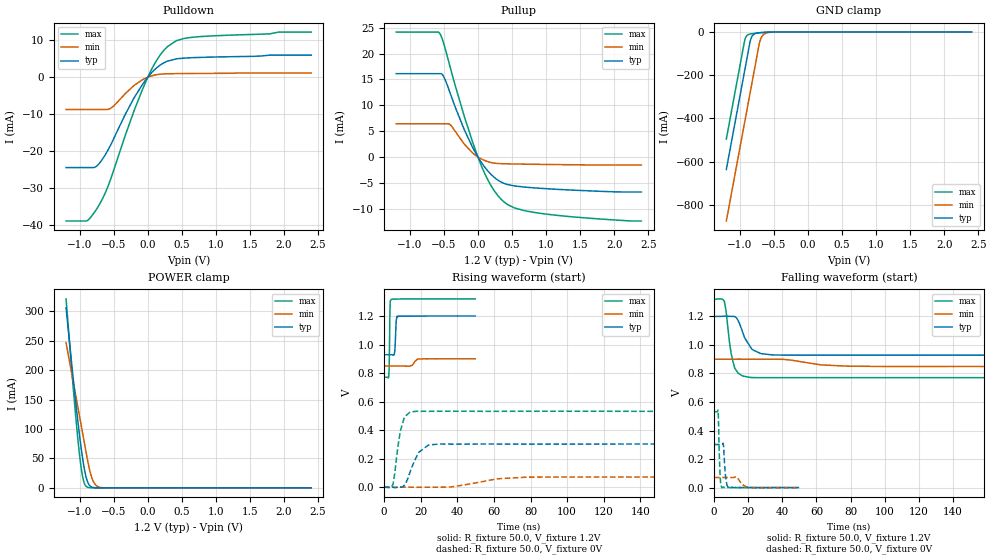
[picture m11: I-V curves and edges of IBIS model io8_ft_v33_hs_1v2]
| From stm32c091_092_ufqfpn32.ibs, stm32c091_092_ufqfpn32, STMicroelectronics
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[Model]   io8_ft_v33_hs_1v2
Model_type I/O
Polarity   Non-Inverting
Enable   Active-Low
| CAP_THRESHOLD on pad IOFT is "UDTCAPC" :
| Rising=30.0% of vddiom   Falling=70.0% of vddiom
| C_comp min and max val. don't necessarily correlate with the min and max pvt
| but are the smallest and greatest pad capacitance found.
| var   typ   min   max
C_comp   1.63441pF  1.57090pF  1.66383pF
|C_comp_pullup   957.35000fF  903.55000fF  945.39000fF
|C_comp_pulldown   677.06002fF  667.35002fF  718.43501fF
Vinl = 450.0mV
Vinh = 660.0mV
Vmeas = 600.0mV   | Reference voltage for timing measurements
Cref  = 50.0pF   | Timing specification test load capacitance value
Rref  = 1.0MOhm   | Timing specification test load resistance value
Vref  = 660.0mV   | Timing specification test load voltage
[Model Spec]
| TIME_THRESHOLD on pin ZIV33M is "CMOS" :
| Rising=50.0% of vddiom   Falling=50.0% of vddiom
Vinl 458.70000mV 361.70000mV 499.70000mV
Vinh 728.30000mV 549.30000mV 792.30000mV
| variable   typ   min   max
[Temperature Range] 25.0 125.0 -40.0
| variable   typ   min   max
[Voltage Range] 1.2V 900.0mV 1.32V
| variable   typ   min   max
[POWER Clamp Reference] 1.2V 900.0mV 1.32V
| variable   typ   min   max
[GND Clamp Reference] 0V 0V 0V
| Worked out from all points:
|   slope of the pulldown table from 0 to 0.18 V, typ, clamps not added: 55.6 ohm
|   slope of the pullup table from 0 to 0.18 V, typ, clamps not added: 56.3 ohm
|   GND clamp passes 1 mA (typ) near -0.61 V on its own axis
|   POWER clamp passes 1 mA (typ) near -0.81 V on its own axis
|   rising waveform, R_fixture 50.0, V_fixture 1.2V: 20-80 % time 546ps typ, 1.88ns min, 335ps max; typ from 0.928 V to 1.2 V
|   falling waveform, R_fixture 50.0, V_fixture 1.2V: 20-80 % time 6.41ns typ, 17.2ns min, 3.88ns max; typ from 1.2 V to 0.928 V
|   rising waveform, R_fixture 50.0, V_fixture 0V: 20-80 % time 5.9ns typ, 17.9ns min, 3.67ns max; typ from 0 V to 0.302 V
|   falling waveform, R_fixture 50.0, V_fixture 0V: 20-80 % time 1.14ns typ, 3.03ns min, 775ps max; typ from 0.302 V to 0 V
[POWER Clamp]
-1.2V     306.2mA    246.9mA    321.2mA
-1.09V    180mA      177.2mA    163.4mA
-1.05V    136.9mA    151.8mA    110.9mA
-1.01V    96.55mA    126.4mA    64.02mA
-960mV    52.29mA    94.73mA    20.68mA
-930mV    31.08mA    75.71mA    7.282mA
-900mV    15.67mA    56.69mA    2.025mA
-860mV    4.779mA    33.42mA    315.2uA
-810mV    823.2uA    13.62mA    29.21uA
-760mV    129.2uA    4.248mA    2.687uA
-690mV    9.442uA    651.7uA    95.02nA
2.4V      0A         0A         0A
[GND Clamp]
-1.2V     -636.9mA   -875.6mA   -495.8mA
-940mV    -194.9mA   -433.6mA   -53.78mA
-920mV    -160.9mA   -399.6mA   -28.06mA
-890mV    -109.9mA   -348.6mA   -14.28mA
-850mV    -43.09mA   -280.6mA   -9.18mA
-830mV    -23.96mA   -246.6mA   -8.001mA
-790mV    -9.264mA   -178.6mA   -6.254mA
-710mV    -3.12mA    -46.23mA   -3.486mA
-680mV    -2.303mA   -22.08mA   -2.625mA
-650mV    -1.674mA   -11.03mA   -1.876mA
-450mV    -34.83uA   -165.4uA   -17.32uA
2.4V      336.3pA    36.26nA    239.5pA
| variable   typ   min   max
[Pullup Reference] 1.2V 900.0mV 1.32V
| variable   typ   min   max
[Pulldown Reference] 0V 0V 0V
[Pullup]
-1.2V     16.12mA    6.417mA    24.16mA
-560mV    16.12mA    6.417mA    23.88mA
-500mV    15.46mA    6.417mA    21.84mA
-410mV    12.44mA    6.274mA    17.5mA
-200mV    5.266mA    2.483mA    7.842mA
20mV      -429.9uA   -159.5uA   -695.4uA
110mV     -2.132mA   -737.9uA   -3.474mA
210mV     -3.59mA    -1.121mA   -5.919mA
400mV     -5.186mA   -1.316mA   -8.867mA
540mV     -5.604mA   -1.354mA   -9.861mA
920mV     -6.061mA   -1.43mA    -10.9mA
2.4V      -6.767mA   -1.538mA   -12.38mA
[Pulldown]
-1.2V     -24.47mA   -8.75mA    -38.94mA
-890mV    -24.47mA   -8.75mA    -38.83mA
-780mV    -24.4mA    -8.75mA    -36.48mA
-710mV    -23.27mA   -8.75mA    -34.44mA
-530mV    -17.77mA   -8.214mA   -26.77mA
-330mV    -10.03mA   -4.428mA   -15.71mA
-80mV     -2.009mA   -705.4uA   -3.396mA
110mV     2.198mA    601.6uA    3.95mA
290mV     4.348mA    923.6uA    8.288mA
420mV     4.961mA    964.2uA    9.88mA
670mV     5.29mA     1.001mA    10.83mA
2.4V      5.965mA    1.157mA    12.22mA
[Ramp]
dV/dt_r 181.10261mV/5.83746ns 42.43756mV/17.85956ns 318.9856mV/3.6674ns
dV/dt_f 162.93067mV/6.40277ns 30.71034mV/17.23341ns 329.52149mV/3.86023ns
R_load = 50.0
| Removed startup time: 0s 0s 0s  .
| Removed end time: 49.85ns.
[Rising Waveform]
R_fixture   = 50.0
V_fixture   = 1.2V
V_fixture_min = 900.0mV
V_fixture_max = 1.32V
0s        928.4mV    849mV      770.7mV
2.6ns     928.5mV    849mV      773.2mV
2.85ns    928.4mV    849mV      835.4mV
3.25ns    928.4mV    849mV      1.22V
3.4ns     928.5mV    849mV      1.292V
3.95ns    928.6mV    849mV      1.315V
5.95ns    956.1mV    849mV      1.318V
6.65ns    1.16V      849mV      1.318V
7.15ns    1.199V     849mV      1.319V
49.85ns   1.2V       899.7mV    1.32V
| Removed startup time: 0s 0s 0s  .
| Removed end time: 199.0ns.
[Falling Waveform]
R_fixture   = 50.0
V_fixture   = 1.2V
V_fixture_min = 900.0mV
V_fixture_max = 1.32V
0s        1.2V       900mV      1.32V
6ns       1.202V     900mV      1.307V
9ns       1.201V     900mV      1.022V
11ns      1.2V       900mV      888.1mV
14ns      1.174V     900.6mV    803.3mV
17ns      1.08V      900.4mV    781.6mV
22ns      972.2mV    900.3mV    771.2mV
34ns      930.2mV    899.8mV    770.7mV
78ns      928.5mV    851.6mV    770.8mV
199ns     928.4mV    848.8mV    770.8mV
| Removed startup time: 0s 0s 0s  .
| Removed end time: 199.0ns.
[Rising Waveform]
R_fixture   = 50.0
V_fixture   = 0V
V_fixture_min = 0V
V_fixture_max = 0V
0s        428.7nV    568.4nV    4.694uV
5ns       -92.61uV   941.5nV    22.55mV
9ns       -410.6uV   -434.7nV   396.3mV
11ns      11.49mV    20.6uV     483.7mV
15ns      131.8mV    -411.4uV   527.9mV
19ns      244.2mV    -815.9uV   532.1mV
24ns      292.8mV    -73.51uV   531.7mV
30ns      302mV      -24.16uV   532.1mV
78ns      301.9mV    70.19mV    532mV
199ns     301.8mV    70.73mV    531.6mV
| Removed startup time: 0s 0s 0s  .
| Removed end time: 49.8ns.
[Falling Waveform]
R_fixture   = 50.0
V_fixture   = 0V
V_fixture_min = 0V
V_fixture_max = 0V
0s        302.1mV    70.7mV     532mV
2.3ns     302.1mV    70.7mV     544.1mV
3.45ns    302.1mV    70.7mV     105.3mV
3.9ns     302.1mV    70.7mV     21.1mV
4.65ns    301.7mV    70.7mV     -1.709mV
5.55ns    291.2mV    70.7mV     3.909mV
7ns       54.46mV    70.71mV    1.792mV
9ns       -438.2uV   70.65mV    218.6uV
19.1ns    180.5uV    4.458mV    148.2uV
49.8ns    186.2uV    118.5uV    -140.7uV
